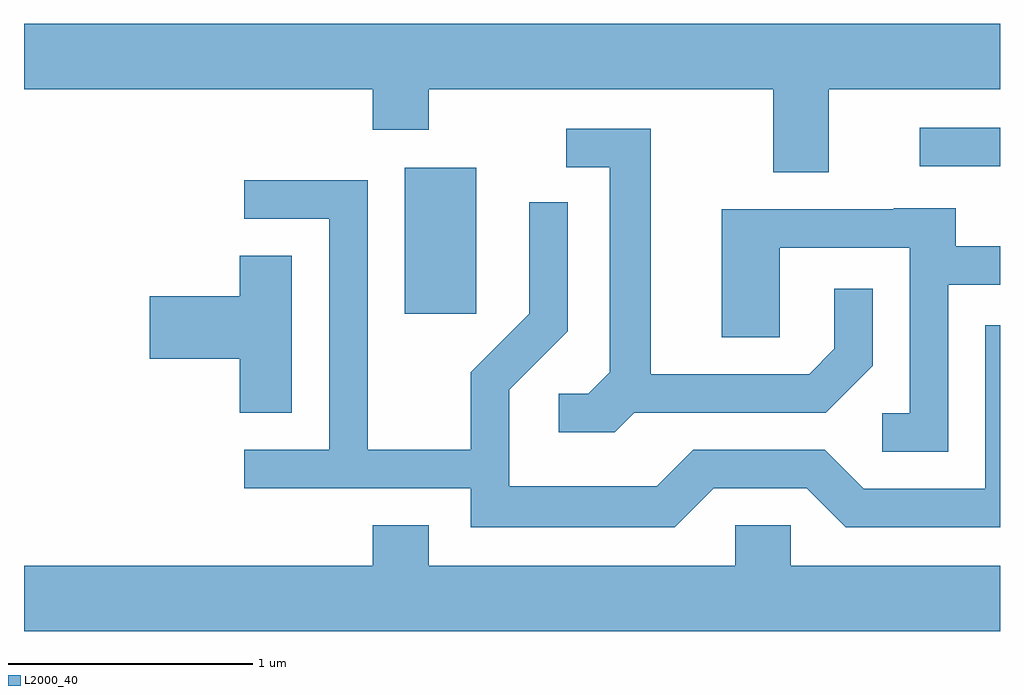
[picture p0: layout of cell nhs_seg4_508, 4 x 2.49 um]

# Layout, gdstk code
import gdstk
lib = gdstk.Library(unit=1e-6, precision=1e-09)
def R(c, l, rs):  # rectangles x0, y0, x1, y1
    for r in rs: c.add(gdstk.rectangle(r[:2], r[2:], *l))
def P(c, l, *ps):  # polygons
    for p in ps: c.add(gdstk.Polygon(p, *l))
L2000_40 = (2000, 40)

nhs_seg4_508 = lib.new_cell('nhs_seg4_508')
R(nhs_seg4_508, L2000_40, [(201.171,1320.456,201.464,1321.054), (203.283,1321.061,203.611,1321.219)])
P(nhs_seg4_508, L2000_40, [(202.909,1321.376),(203.611,1321.376),(203.611,1321.644),(199.611,1321.644),(199.611,1321.376),(201.041,1321.376),(201.041,1321.211),(201.269,1321.211),(201.269,1321.376),(202.681,1321.376),(202.681,1321.036),(202.909,1321.036)],
  [(202.112,1320.051),(202.897,1320.051),(203.089,1320.244),(203.089,1320.558),(202.931,1320.558),(202.931,1320.312),(202.829,1320.209),(202.179,1320.209),(202.179,1321.214),(201.833,1321.214),(201.833,1321.056),(202.011,1321.056),(202.011,1320.217),(201.924,1320.129),(201.803,1320.129),(201.803,1319.971),(202.032,1319.971)],
  [(202.437,1319.741),(202.819,1319.741),(202.979,1319.581),(203.611,1319.581),(203.611,1320.409),(203.551,1320.409),(203.551,1319.739),(203.052,1319.739),(202.892,1319.899),(202.354,1319.899),(202.204,1319.749),(201.599,1319.749),(201.599,1320.144),(201.839,1320.384),(201.839,1320.913),(201.681,1320.913),(201.681,1320.457),(201.441,1320.217),(201.441,1319.899),(201.019,1319.899),(201.019,1321.004),(200.513,1321.004),(200.513,1320.846),(200.861,1320.846),(200.861,1319.899),(200.513,1319.899),(200.513,1319.741),(201.441,1319.741),(201.441,1319.581),(202.277,1319.581)],
  [(203.399,1320.576),(203.611,1320.576),(203.611,1320.734),(203.429,1320.734),(203.429,1320.889),(203.175,1320.889),(203.175,1320.884),(202.471,1320.884),(202.471,1320.361),(202.709,1320.361),(202.709,1320.726),(203.241,1320.726),(203.241,1320.049),(203.128,1320.049),(203.128,1319.891),(203.399,1319.891)],
  [(200.709,1320.694),(200.496,1320.694),(200.496,1320.529),(200.126,1320.529),(200.126,1320.271),(200.496,1320.271),(200.496,1320.051),(200.709,1320.051)],
  [(203.611,1319.424),(202.754,1319.424),(202.754,1319.589),(202.526,1319.589),(202.526,1319.424),(201.269,1319.424),(201.269,1319.589),(201.041,1319.589),(201.041,1319.424),(199.611,1319.424),(199.611,1319.156),(203.611,1319.156)])

lib.write_gds('nhs_seg4_508.gds')
